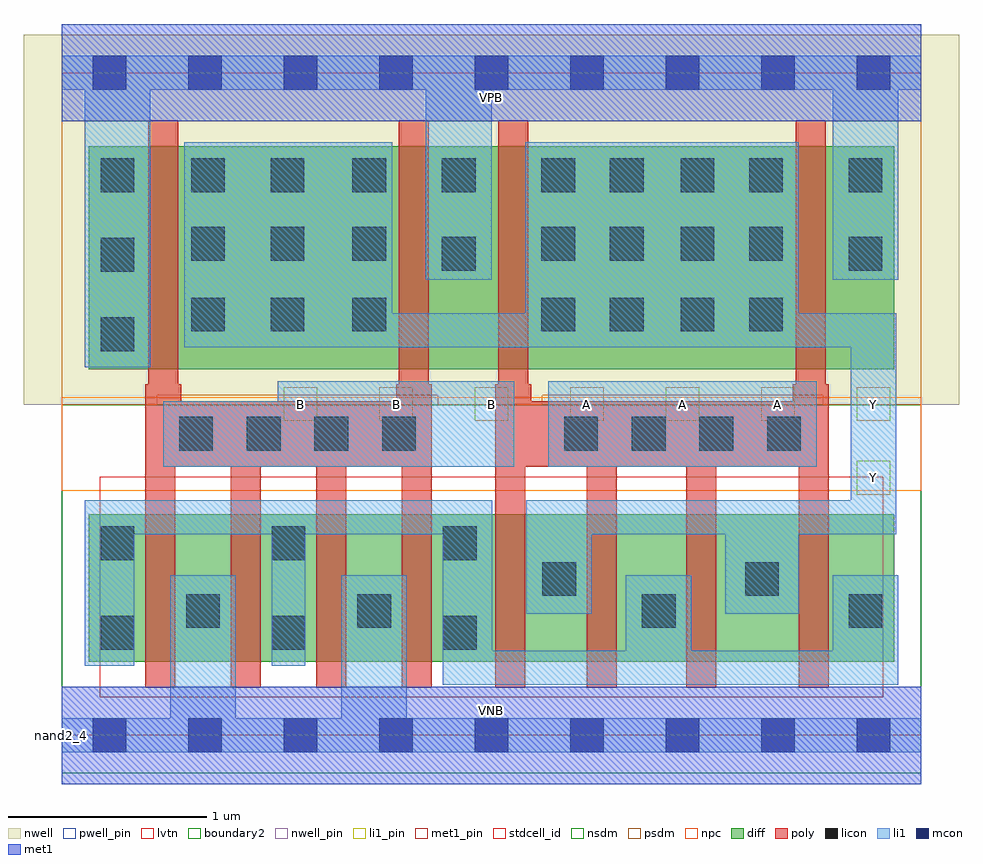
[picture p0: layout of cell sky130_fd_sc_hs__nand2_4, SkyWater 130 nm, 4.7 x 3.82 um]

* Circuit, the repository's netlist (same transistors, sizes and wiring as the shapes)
* Copyright 2020 The SkyWater PDK Authors
*
* Licensed under the Apache License, Version 2.0 (the "License");
* you may not use this file except in compliance with the License.
* You may obtain a copy of the License at
*
*     https://www.apache.org/licenses/LICENSE-2.0
*
* Unless required by applicable law or agreed to in writing, software
* distributed under the License is distributed on an "AS IS" BASIS,
* WITHOUT WARRANTIES OR CONDITIONS OF ANY KIND, either express or implied.
* See the License for the specific language governing permissions and
* limitations under the License.
*
* SPDX-License-Identifier: Apache-2.0


.subckt sky130_fd_sc_hs__nand2_4 A B VGND VNB VPB VPWR Y
X0 VPWR A Y VPB sky130_fd_pr__pfet_01v8 w=1.12 l=150000u
X1 Y A a_27_74# VNB sky130_fd_pr__nfet_01v8_lvt w=740000u l=150000u
X2 a_27_74# B VGND VNB sky130_fd_pr__nfet_01v8_lvt w=740000u l=150000u
X3 VGND B a_27_74# VNB sky130_fd_pr__nfet_01v8_lvt w=740000u l=150000u
X4 VGND B a_27_74# VNB sky130_fd_pr__nfet_01v8_lvt w=740000u l=150000u
X5 a_27_74# A Y VNB sky130_fd_pr__nfet_01v8_lvt w=740000u l=150000u
X6 Y A a_27_74# VNB sky130_fd_pr__nfet_01v8_lvt w=740000u l=150000u
X7 VPWR B Y VPB sky130_fd_pr__pfet_01v8 w=1.12 l=150000u
X8 Y B VPWR VPB sky130_fd_pr__pfet_01v8 w=1.12 l=150000u
X9 a_27_74# A Y VNB sky130_fd_pr__nfet_01v8_lvt w=740000u l=150000u
X10 Y A VPWR VPB sky130_fd_pr__pfet_01v8 w=1.12 l=150000u
X11 a_27_74# B VGND VNB sky130_fd_pr__nfet_01v8_lvt w=740000u l=150000u
.ends

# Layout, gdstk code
import gdstk
lib = gdstk.Library(unit=1e-6, precision=1e-09)
def R(c, l, rs):  # rectangles x0, y0, x1, y1
    for r in rs: c.add(gdstk.rectangle(r[:2], r[2:], *l))
def A(c, l, x, y, w, h, nx, ny, dx, dy):  # array of equal rectangles
    R(c, l, [(x+i*dx, y+j*dy, x+i*dx+w, y+j*dy+h) for i in range(nx) for j in range(ny)])
def P(c, l, *ps):  # polygons
    for p in ps: c.add(gdstk.Polygon(p, *l))
nwell_pin = (64, 16)
nwell = (64, 20)
diff = (65, 20)
poly = (66, 20)
licon = (66, 44)
li1_pin = (67, 16)
li1 = (67, 20)
mcon = (67, 44)
met1_pin = (68, 16)
met1 = (68, 20)
stdcell_id = (81, 4)
nsdm = (93, 44)
psdm = (94, 20)
npc = (95, 20)
pwell_pin = (122, 16)
lvtn = (125, 44)
boundary2 = (236, 0)

sky130_fd_sc_hs__nand2_4 = lib.new_cell('sky130_fd_sc_hs__nand2_4')
R(sky130_fd_sc_hs__nand2_4, nwell_pin, [(0,3.085,4.32,3.33)])
R(sky130_fd_sc_hs__nand2_4, nwell, [(-0.19,1.66,4.51,3.52)])
R(sky130_fd_sc_hs__nand2_4, diff, [(0.135,0.37,4.185,1.11), (0.135,1.84,4.185,2.96)])
P(sky130_fd_sc_hs__nand2_4, poly, [(2.18,0.24),(2.18,1.765),(2.195,1.765),(2.195,3.09),(2.345,3.09),(2.345,1.765),(2.36,1.765),(2.36,1.68),(3.675,1.68),(3.675,1.765),(3.69,1.765),(3.69,3.09),(3.84,3.09),(3.84,1.765),(3.855,1.765),(3.855,0.24),(3.705,0.24),(3.705,1.35),(3.29,1.35),(3.29,0.24),(3.14,0.24),(3.14,1.35),(2.79,1.35),(2.79,0.24),(2.64,0.24),(2.64,1.35),(2.33,1.35),(2.33,0.24)],
  [(0.42,0.24),(0.42,1.765),(0.435,1.765),(0.435,3.09),(0.585,3.09),(0.585,1.765),(0.6,1.765),(0.6,1.68),(1.68,1.68),(1.68,1.765),(1.695,1.765),(1.695,3.09),(1.845,3.09),(1.845,1.765),(1.86,1.765),(1.86,0.24),(1.71,0.24),(1.71,1.35),(1.43,1.35),(1.43,0.24),(1.28,0.24),(1.28,1.35),(1,1.35),(1,0.24),(0.85,0.24),(0.85,1.35),(0.57,1.35),(0.57,0.24)])
A(sky130_fd_sc_hs__nand2_4, licon, 0.195, 0.43, 0.17, 0.17, 3, 2, 0.86, 0.45)
A(sky130_fd_sc_hs__nand2_4, licon, 0.59, 1.43, 0.17, 0.17, 4, 1, 0.34, 0)
A(sky130_fd_sc_hs__nand2_4, licon, 2.525, 1.43, 0.17, 0.17, 4, 1, 0.34, 0)
A(sky130_fd_sc_hs__nand2_4, licon, 0.195, 1.93, 0.17, 0.17, 1, 3, 0, 0.4)
R(sky130_fd_sc_hs__nand2_4, licon, [(0.625,0.54,0.795,0.71), (1.485,0.54,1.655,0.71), (2.915,0.54,3.085,0.71), (3.955,0.54,4.125,0.71), (2.415,0.7,2.585,0.87), (3.435,0.7,3.605,0.87), (0.65,2.03,0.82,2.2), (1.05,2.03,1.22,2.2), (1.46,2.03,1.63,2.2), (2.41,2.03,2.58,2.2), (2.755,2.03,2.925,2.2), (3.11,2.03,3.28,2.2), (3.455,2.03,3.625,2.2), (1.91,2.335,2.08,2.505), (3.955,2.335,4.125,2.505), (0.65,2.385,0.82,2.555), (1.05,2.385,1.22,2.555), (1.46,2.385,1.63,2.555), (2.41,2.385,2.58,2.555), (2.755,2.385,2.925,2.555), (3.11,2.385,3.28,2.555), (3.455,2.385,3.625,2.555), (0.65,2.73,0.82,2.9), (1.05,2.73,1.22,2.9), (1.46,2.73,1.63,2.9), (1.91,2.73,2.08,2.9), (2.41,2.73,2.58,2.9), (2.755,2.73,2.925,2.9), (3.11,2.73,3.28,2.9), (3.455,2.73,3.625,2.9), (3.955,2.73,4.125,2.9)])
A(sky130_fd_sc_hs__nand2_4, li1_pin, 1.115, 1.58, 0.17, 0.17, 7, 1, 0.48, 0)
R(sky130_fd_sc_hs__nand2_4, li1_pin, [(3.995,1.21,4.165,1.38)])
R(sky130_fd_sc_hs__nand2_4, li1, [(2.445,1.35,3.795,1.78)])
P(sky130_fd_sc_hs__nand2_4, li1, [(0,-0.085),(0,0.085),(0.545,0.085),(0.545,0.805),(0.875,0.805),(0.875,0.085),(1.405,0.085),(1.405,0.805),(1.735,0.805),(1.735,0.085),(4.32,0.085),(4.32,-0.085)],
  [(0.115,1.85),(0.115,3.245),(0,3.245),(0,3.415),(4.32,3.415),(4.32,3.245),(4.205,3.245),(4.205,2.29),(3.875,2.29),(3.875,3.245),(2.16,3.245),(2.16,2.29),(1.83,2.29),(1.83,3.245),(0.445,3.245),(0.445,1.85)],
  [(2.335,0.61),(2.335,1.18),(3.965,1.18),(3.965,1.95),(0.615,1.95),(0.615,2.98),(1.66,2.98),(1.66,2.12),(2.33,2.12),(2.33,2.98),(3.705,2.98),(3.705,2.12),(4.195,2.12),(4.195,1.01),(3.705,1.01),(3.705,0.61),(3.335,0.61),(3.335,1.01),(2.665,1.01),(2.665,0.61)],
  [(0.51,1.35),(0.51,1.68),(1.085,1.68),(1.085,1.78),(2.275,1.78),(2.275,1.35)],
  [(1.915,0.255),(1.915,1.01),(1.225,1.01),(1.225,0.35),(1.055,0.35),(1.055,1.01),(0.365,1.01),(0.365,0.35),(0.115,0.35),(0.115,1.18),(2.165,1.18),(2.165,0.425),(2.835,0.425),(2.835,0.805),(3.165,0.805),(3.165,0.425),(3.875,0.425),(3.875,0.805),(4.205,0.805),(4.205,0.255)])
A(sky130_fd_sc_hs__nand2_4, mcon, 0.155, -0.085, 0.17, 0.17, 9, 2, 0.48, 3.33)
R(sky130_fd_sc_hs__nand2_4, met1_pin, [(0,-0.245,4.32,0.245), (0,3.085,4.32,3.575)])
R(sky130_fd_sc_hs__nand2_4, met1, [(0,-0.245,4.32,0.245), (0,3.085,4.32,3.575)])
R(sky130_fd_sc_hs__nand2_4, stdcell_id, [(0,0,4.32,3.33)])
R(sky130_fd_sc_hs__nand2_4, nsdm, [(0,-0.19,4.32,1.66)])
P(sky130_fd_sc_hs__nand2_4, psdm, [(0,1.66),(0,3.52),(4.32,3.52),(4.32,1.66),(3.825,1.66),(3.825,1.71),(2.415,1.71),(2.415,1.66),(1.89,1.66),(1.89,1.71),(0.48,1.71),(0.48,1.66)])
R(sky130_fd_sc_hs__nand2_4, npc, [(0,1.23,4.32,1.7)])
R(sky130_fd_sc_hs__nand2_4, pwell_pin, [(0,0,4.32,0.245)])
R(sky130_fd_sc_hs__nand2_4, lvtn, [(0.19,0.19,4.13,1.3)])
R(sky130_fd_sc_hs__nand2_4, boundary2, [(0,0,4.32,3.33)])
sky130_fd_sc_hs__nand2_4.add(gdstk.Label('nand2_4', (0,0), layer=83, texttype=44))
sky130_fd_sc_hs__nand2_4.add(gdstk.Label('VNB', (2.16,0.123), layer=64, texttype=59))
sky130_fd_sc_hs__nand2_4.add(gdstk.Label('VPB', (2.16,3.208), layer=64, texttype=5))
sky130_fd_sc_hs__nand2_4.add(gdstk.Label('VPWR', (2.16,3.208), layer=68, texttype=5))
sky130_fd_sc_hs__nand2_4.add(gdstk.Label('VGND', (2.16,0.123), layer=68, texttype=5))
sky130_fd_sc_hs__nand2_4.add(gdstk.Label('Y', (4.08,1.295), layer=67, texttype=5))
sky130_fd_sc_hs__nand2_4.add(gdstk.Label('Y', (4.08,1.665), layer=67, texttype=5))
sky130_fd_sc_hs__nand2_4.add(gdstk.Label('B', (1.2,1.665), layer=67, texttype=5))
sky130_fd_sc_hs__nand2_4.add(gdstk.Label('B', (1.68,1.665), layer=67, texttype=5))
sky130_fd_sc_hs__nand2_4.add(gdstk.Label('B', (2.16,1.665), layer=67, texttype=5))
sky130_fd_sc_hs__nand2_4.add(gdstk.Label('A', (2.64,1.665), layer=67, texttype=5))
sky130_fd_sc_hs__nand2_4.add(gdstk.Label('A', (3.12,1.665), layer=67, texttype=5))
sky130_fd_sc_hs__nand2_4.add(gdstk.Label('A', (3.6,1.665), layer=67, texttype=5))

lib.write_gds('sky130_fd_sc_hs__nand2_4.gds')
